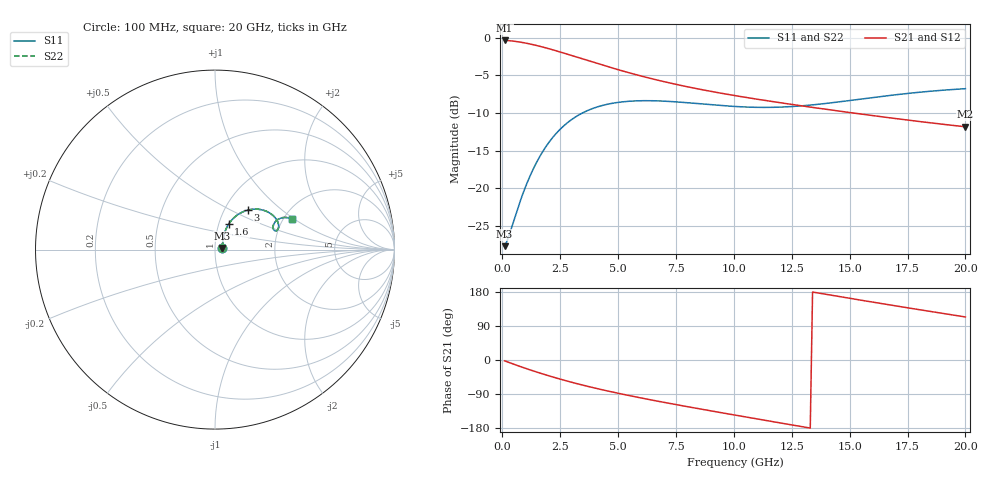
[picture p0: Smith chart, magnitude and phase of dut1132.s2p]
! Touchstone file exported from HFSS 2024.1.0
!  File:  C:/UserFiles/LocalFiles/RDL_TSV_Batchsim/temp_RDL_TSV_1132_1780110582.aedt
!  Generated:  11:21:15 AM May 30, 2026
!  Design:  RDL_TSV
!  Project:  temp_RDL_TSV_1132_1780110582
!  Setup:  Setup1
!  Solution:  Sweep
! Variables:
!  dtsv = 14.65um
!  hbump = 3um
!  htsv = 58.58um
!  ldown = 663.97um
!  lrdl = 399.59um
!  p = 40
!  p1 = 53.54um
!  rhole = 10um
!  subl = 3590.27um
!  t = 450um
!  tdown = 2.59um
!  trdl = 2.98um
!  viad = 10um
!  wdown = 11.1um
!  wrdl = 10.63um
!  xbump = 18um
# GHz S MA R 50.000000
! Terminal data exported
! Port[1] = TM1_1_T1
! Port[2] = TM1_4_T1
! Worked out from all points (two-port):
!   200 points, 100 MHz to 20 GHz, reference 50 ohm
!   highest |S21| = -0.36 dB at 100 MHz (marker M1); lowest = -11.8 dB at 20 GHz (marker M2)
!   |S21| within 3 dB of the highest: start of sweep to 4.041 GHz
!   lowest |S11| = -27.7 dB at 100 MHz (marker M3), VSWR 1.09, Z = 54.2 + j0.965 ohm
!   |S11| at or under -10 dB: start of sweep to 3.456 GHz
!   |S22| runs from -27.7 to -6.7 dB; largest |S21 - S12| = 8.3e-15
!   S11 on the Smith chart (normalised r, x): 100 MHz: 1.08, +0.02; 1.6 GHz: 1.11, +0.32; 3 GHz: 1.28, +0.62; 20 GHz: 2.21, +0.94
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0.1  0.04133 12.4  0.9593 -2.3  0.9593 -2.3  0.04133 12.4
! Gamma 0 0 0 0
! Port Impedance 50 0 50 0
0.2  0.04453 23.3  0.9579 -4.6  0.9579 -4.6  0.04453 23.3
0.5  0.06126 45.0  0.9488 -11.3  0.9488 -11.3  0.06126 45.0
1  0.1021 59.4  0.9221 -22.0  0.9221 -22.0  0.1021 59.4
1.3  0.1307 61.8  0.9018 -28.1  0.9018 -28.1  0.1308 61.8
1.6  0.1607 61.8  0.8792 -34.0  0.8792 -34.0  0.1608 61.8
1.9  0.1908 60.4  0.855 -39.7  0.855 -39.7  0.1908 60.4
2.3  0.2291 57.2  0.8213 -47.0  0.8213 -47.0  0.2292 57.2
3  0.2868 50.2  0.7617 -58.9  0.7617 -58.9  0.2868 50.2
3.5  0.3188 45.0  0.7207 -66.7  0.7207 -66.7  0.3189 45.0
4.3  0.3544 37.4  0.6603 -78.3  0.6603 -78.3  0.3545 37.4
5.1  0.3739 31.0  0.6074 -89.0  0.6074 -89.0  0.374 31.0
5.9  0.3815 25.9  0.562 -99.1  0.562 -99.1  0.3816 25.9
6.8  0.3805 21.6  0.519 -109.7  0.519 -109.7  0.3805 21.6
8.4  0.3659 17.5  0.4591 -127.6  0.4591 -127.6  0.3659 17.5
10.1  0.3493 17.5  0.4116 -145.9  0.4116 -145.9  0.3493 17.6
11.7  0.3453 20.2  0.3763 -162.9  0.3763 -162.9  0.3454 20.3
13.4  0.3584 23.6  0.3448 179.3  0.3448 179.3  0.3586 23.7
15.1  0.3847 25.4  0.3173 161.8  0.3173 161.8  0.3852 25.6
16.7  0.4133 25.3  0.2945 145.7  0.2945 145.7  0.414 25.4
18.3  0.4389 23.9  0.2745 129.9  0.2745 129.9  0.4399 24.0
20  0.4588 21.5  0.2564 113.6  0.2564 113.6  0.4601 21.6
